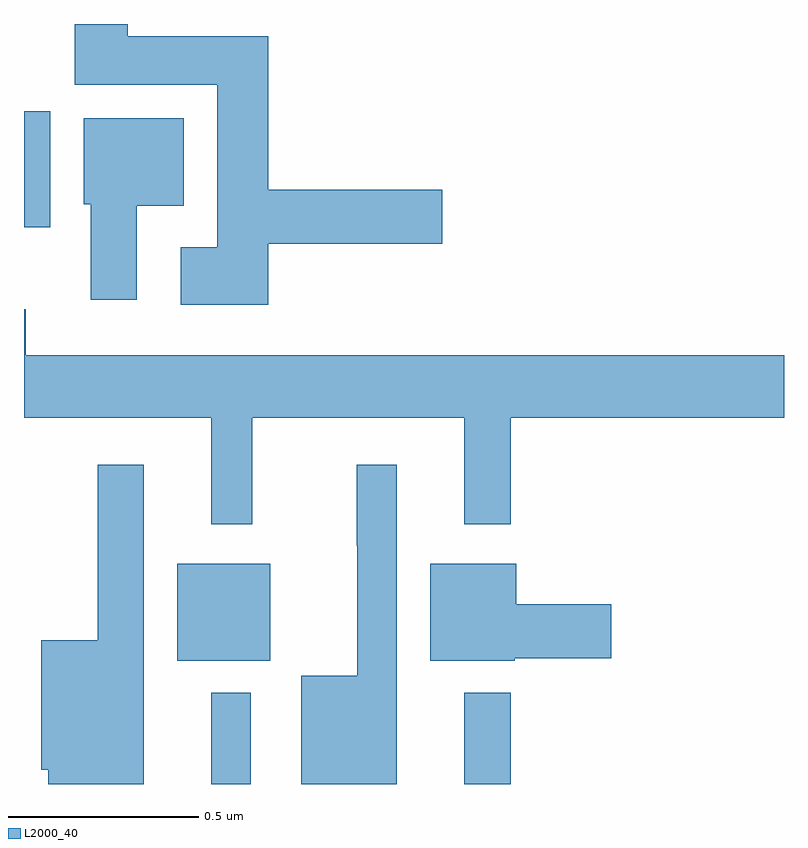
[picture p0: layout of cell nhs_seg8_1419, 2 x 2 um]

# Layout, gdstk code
import gdstk
lib = gdstk.Library(unit=1e-6, precision=1e-09)
def R(c, l, rs):  # rectangles x0, y0, x1, y1
    for r in rs: c.add(gdstk.rectangle(r[:2], r[2:], *l))
def P(c, l, *ps):  # polygons
    for p in ps: c.add(gdstk.Polygon(p, *l))
L2000_40 = (2000, 40)

nhs_seg8_1419 = lib.new_cell('nhs_seg8_1419')
R(nhs_seg8_1419, L2000_40, [(130.493,1084.9,130.597,1085.14), (131.159,1084.9,131.281,1085.14), (130.403,1085.225,130.648,1085.479), (130,1086.365,130.069,1086.67)])
P(nhs_seg8_1419, L2000_40, [(130.643,1086.322),(131.101,1086.322),(131.101,1086.464),(130.643,1086.464),(130.643,1086.868),(130.273,1086.868),(130.273,1086.9),(130.133,1086.9),(130.133,1086.74),(130.508,1086.74),(130.508,1086.313),(130.413,1086.313),(130.413,1086.161),(130.643,1086.161)],
  [(130.297,1086.422),(130.42,1086.422),(130.42,1086.652),(130.157,1086.652),(130.157,1086.426),(130.175,1086.426),(130.175,1086.174),(130.297,1086.174)],
  [(130.6,1085.864),(131.159,1085.864),(131.159,1085.583),(131.281,1085.583),(131.281,1085.864),(132,1085.864),(132,1086.028),(130.005,1086.028),(130.005,1086.149),(130,1086.149),(130,1085.864),(130.493,1085.864),(130.493,1085.583),(130.6,1085.583)],
  [(130.315,1085.74),(130.194,1085.74),(130.194,1085.278),(130.046,1085.278),(130.046,1084.938),(130.064,1084.938),(130.064,1084.9),(130.315,1084.9)],
  [(130.981,1085.74),(130.875,1085.74),(130.875,1085.527),(130.877,1085.527),(130.877,1085.185),(130.73,1085.185),(130.73,1084.9),(130.981,1084.9)],
  [(131.292,1085.231),(131.545,1085.231),(131.545,1085.373),(131.296,1085.373),(131.296,1085.479),(131.069,1085.479),(131.069,1085.225),(131.292,1085.225)])

lib.write_gds('nhs_seg8_1419.gds')
